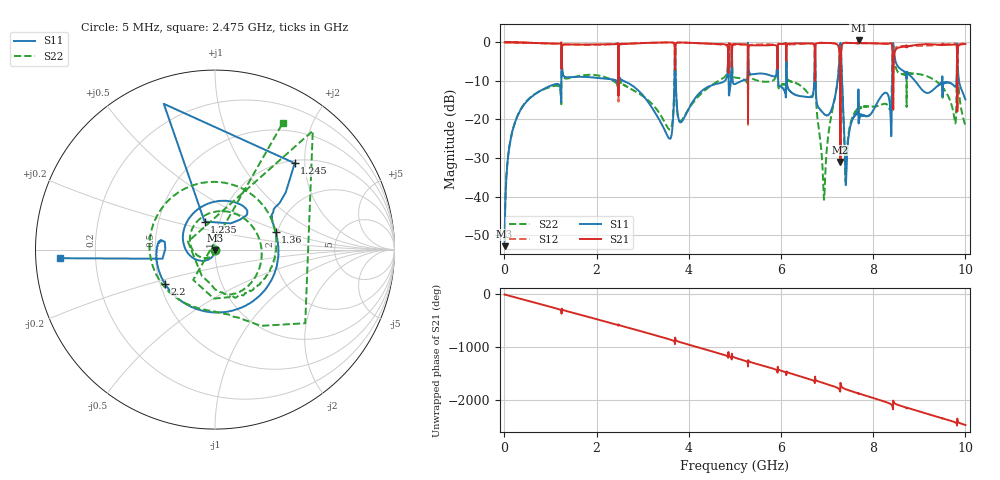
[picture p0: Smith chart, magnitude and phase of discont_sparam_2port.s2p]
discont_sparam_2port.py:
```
import os
from pylab import *

from CSXCAD  import ContinuousStructure
from openEMS import openEMS
from openEMS.physical_constants import *

# preview model/mesh only?
# postprocess existing data without re-running simulation?
preview_only = False
postprocess_only = False

# Simulate reverse path (S22 and S12) also?
full_2port = True

# get *.py model path and put simulation files in data directory below
model_path = os.path.normcase(os.path.dirname(__file__))
model_basename = os.path.basename(__file__).replace('.py','')
common_data_path = os.path.join(model_path, 'data')
sim_path = os.path.join(common_data_path,  model_basename)

print('Model path:', model_path)
print('Model basename:', model_basename)
print('Simulation data path:', sim_path, '\n')

# create data directory if it does not exist
if not os.path.exists(sim_path):
    os.makedirs(sim_path)

# change to data directory
os.chdir(sim_path)

############ simulation settings ############

unit = 1e-3 # specify everything in mm
Z0=50 # reference impedance for ports

fstart = 0
fstop  = 10e9
numfreq = 2001  # number of frequency points (has no effect on simulation time!)

energy_limit = -40    # end criteria for residual energy
Boundaries   = ['PEC', 'PEC', 'PEC', 'PEC', 'PEC', 'PEC']  # xmin xmax ymin ymax zmin zmax

eps_max = 4.4 # maximum permittivity in model, used for calculating max cellsize

lim = exp(energy_limit/10 * log(10))
FDTD = openEMS(EndCriteria=lim)
FDTD.SetGaussExcite( (fstart+fstop)/2, (fstop-fstart)/2 )
FDTD.SetBoundaryCond( Boundaries )

wavelength_air = (3e8/unit)/fstop
max_cellsize = wavelength_air/(sqrt(eps_max)*20) # max cellsize is lambda/20 in medium
max_cellsize = min(max_cellsize, 2) # using lambda/20 would be too large here, creating abrupt steps in cell size -> use smaller value for nicely graded mesh

def createSimulation (exciteport):
# Define function for model creation because we need to create and run separate CSX
# for each excitation. For S11,S21 we only need to excite port 1, but for S22,S12
# we need to excite port 2. This requires separate CSX with different port settings.


    ############ Geometry setup ############
    CSX = ContinuousStructure()
    FDTD.SetCSX(CSX)
    mesh = CSX.GetGrid()
    mesh.SetDeltaUnit(unit)

    # air above and below
    air_thick = 5

    # substrate
    Sub = CSX.AddMaterial('Sub', epsilon=4.4)
    Sub_thick = 1.5
    Sub_zmin = 0
    Sub_zmax = Sub_zmin + Sub_thick

    # TopMetal
    TopMetal_thick = 0.1
    TopMetal_zmin  = Sub_zmax
    TopMetal_zmax  = Sub_zmax + TopMetal_thick
    TopMetal = CSX.AddMetal('TopMetal')

    # BottomMetal
    BottomMetal_thick = 0.1
    BottomMetal_zmax  = Sub_zmin
    BottomMetal_zmin  = Sub_zmin - BottomMetal_thick
    BottomMetal = CSX.AddMetal('BottomMetal')


    ############# begin layout geometries ###########

    # TopMetal line over BottomMetal ground
    # unit millimeter
    wline = 2.7
    lline = 100
    wgnd  = 20
    lgnd  = lline + 10

    wdiscont = 5
    ldiscont = 20
    xdiscont = 30   # discontuity position

    # signal line
    TopMetal.AddBox(priority=200, start=[-lline/2, -wline/2, TopMetal_zmin], stop=[lline/2, wline/2, TopMetal_zmax])
    # ground plane
    BottomMetal.AddBox(priority=200, start=[-lgnd/2, -wgnd/2, BottomMetal_zmin], stop=[lgnd/2, wgnd/2, BottomMetal_zmax])
    # substrate
    Sub.AddBox(priority=200, start=[-lgnd/2, -wgnd/2, Sub_zmin], stop=[lgnd/2, wgnd/2, Sub_zmax])

    # discontinuity in signal line
    TopMetal.AddBox(priority=200, start=[xdiscont-lline/2, -wdiscont/2, TopMetal_zmin], stop=[xdiscont-lline/2+ldiscont, wdiscont/2, TopMetal_zmax])


    ############# end layout geometries ##########

    ############ ports created manually ##########

    port_zmin = BottomMetal_zmax
    port_zmax = TopMetal_zmin

    if exciteport==1:
        port1 = FDTD.AddLumpedPort(1, Z0, [-lline/2, -wline/2, port_zmin], [-lline/2, wline/2, port_zmax], 'z', excite=1.0, priority=150)
        port2 = FDTD.AddLumpedPort(2, Z0, [ lline/2, -wline/2, port_zmin], [ lline/2, wline/2, port_zmax], 'z', excite=0,   priority=150)
    else:
        port1 = FDTD.AddLumpedPort(1, Z0, [-lline/2, -wline/2, port_zmin], [-lline/2, wline/2, port_zmax], 'z', excite=0,   priority=150)
        port2 = FDTD.AddLumpedPort(2, Z0, [ lline/2, -wline/2, port_zmin], [ lline/2, wline/2, port_zmax], 'z', excite=1.0, priority=150)


    #################  end ports  ################

    # Simulation box with some margin to line
    box_xmin = -(lgnd/2 + 5)
    box_xmax =  (lgnd/2 + 5)
    box_ymin = -(wgnd/2 + 5)
    box_ymax =  (wgnd/2 + 5)

    ############# create  mesh  #############

    # Detect metal edges and place mesh lines
    FDTD.AddEdges2Grid(dirs='all', properties=TopMetal)
    FDTD.AddEdges2Grid(dirs='all', properties=BottomMetal)

    # manual mesh line in substrate
    mesh.AddLine('z',linspace(Sub_zmin, Sub_zmax, 5))

    # fine mesh near port 1
    mesh.AddLine('x', linspace(-lline/2-wline/2, -lline/2+wline/2, 5))

    #finer mesh near port 2
    mesh.AddLine('x', linspace(+lline/2-wline/2, +lline/2+wline/2, 5))

    # fine mesh across line width
    mesh.AddLine('y', linspace(-wline/2, wline/2,7))


    # mesh lines at simulation boundaries

    mesh.AddLine('x', box_xmin)
    mesh.AddLine('x', box_xmax)

    mesh.AddLine('y', box_ymin)
    mesh.AddLine('y', box_ymax)

    mesh.AddLine('z', TopMetal_zmax + air_thick)
    mesh.AddLine('z', BottomMetal_zmin - air_thick)


    mesh.SmoothMeshLines('x', max_cellsize, 1.3)
    mesh.SmoothMeshLines('y', max_cellsize, 1.3)
    mesh.SmoothMeshLines('z', max_cellsize, 1.3)


    #################### write model file and view in AppCSXCAD ################


    # create subdirectory to hold data for this excitation
    excitation_path = os.path.join(sim_path, 'sub-' + str(exciteport))
    if not os.path.exists(excitation_path):
        os.makedirs(excitation_path)

    # write CSX file
    CSX_file = os.path.join(excitation_path, model_basename + '.xml')
    CSX.Write2XML(CSX_file)

    if not postprocess_only: # preview model, but only for first port excitation
        if (exciteport==1):
            from CSXCAD import AppCSXCAD_BIN
            os.system(AppCSXCAD_BIN + ' "{}"'.format(CSX_file))

    if not preview_only:  # start simulation
        if not postprocess_only:
            print("Running FDTD simulation, excitation port " + str(exciteport))
            FDTD.Run(excitation_path, verbose=1)

    # return ports, so that we can postprocess them
    return port1, port2, excitation_path

######### end of function createSimulation (exciteport) ##########



########### create model, run and post-process ###########

f = np.linspace(fstart,fstop,numfreq)

# call createSimulation function defined above
sub1_port1, sub1_port2, sub1_excitation_path = createSimulation (1)  # excite port 1
if full_2port:
    sub2_port1, sub2_port2, sub2_excitation_path = createSimulation (2)  # excite port 2

if not preview_only:
    # evaluate port 1 excitation
    sub1_port1.CalcPort( sub1_excitation_path, f, ref_impedance = Z0)
    sub1_port2.CalcPort( sub1_excitation_path, f, ref_impedance = Z0)

    s11 = sub1_port1.uf_ref / sub1_port1.uf_inc
    s21 = sub1_port2.uf_ref / sub1_port1.uf_inc

    if full_2port:
        # evaluate port 2 excitation
        sub2_port1.CalcPort( sub2_excitation_path, f, ref_impedance = Z0)
        sub2_port2.CalcPort( sub2_excitation_path, f, ref_impedance = Z0)

        s22 = sub2_port2.uf_ref / sub2_port2.uf_inc
        s12 = sub2_port1.uf_ref / sub2_port2.uf_inc

    Zin_port1 = sub1_port1.uf_tot / sub1_port1.if_tot

    ### Plot results

    s11_dB = 20.0*np.log10(np.abs(s11))
    s11_phase = angle(s11, deg=True)

    s21_dB = 20.0*np.log10(np.abs(s21))
    s21_phase = angle(s21, deg=True)

    if full_2port:
        s22_dB = 20.0*np.log10(np.abs(s22))
        s22_phase = angle(s22, deg=True)

        s12_dB = 20.0*np.log10(np.abs(s12))
        s12_phase = angle(s12, deg=True)


    ## Plot reflection coefficient S11
    figure()
    plot( f/1e6, s11_dB, 'k-', linewidth=2, label='dB(S11)' )
    plot( f/1e6, s21_dB, 'r-', linewidth=2, label='dB(S21)' )
    grid()
    title( 'S11 and S21' )
    xlabel( 'frequency (MHz)' )
    ylabel( 'dB' )
    legend()

    if full_2port:
        # create Touchstone S2P output file in simulation data path
        s2p_name = os.path.join(sim_path, model_basename + '.s2p')
        s2p_file = open(s2p_name, 'w')
        s2p_file.write('#   Hz   S  RI   R   50\n')
        s2p_file.write('!\n')
        for index in range(0, numfreq):
            freq = f[index]
            s11re = real(s11[index])
            s11im = imag(s11[index])
            s12re = real(s12[index])
            s12im = imag(s12[index])
            s21re = real(s21[index])
            s21im = imag(s21[index])
            s22re = real(s22[index])
            s22im = imag(s22[index])
            s2p_file.write(f"{freq} {s11re} {s11im} {s21re} {s21im} {s12re} {s12im} {s22re} {s22im} \n")
        s2p_file.close()


    # show plots
    show()
```
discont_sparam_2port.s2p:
#  Hz  S  RI  R  50
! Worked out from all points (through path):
!   2000 points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, 5 MHz to 10 GHz, reference 50 ohm
!   highest |S21| = 0.46 dB at 7.685 GHz (marker M1); lowest = -31.0 dB at 7.29 GHz (marker M2)
!   lowest |S11| = -52.8 dB at 5 MHz (marker M3), VSWR 1.00, Z = 50 - j0.229 ohm
!   |S11| at or under -10 dB: start of sweep to 1.237 GHz; 2.577 GHz to 3.689 GHz (1.112 GHz wide, 35.5 % of centre); 7.325 GHz to 8.411 GHz (1.087 GHz wide, 13.8 % of centre)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
!   |S22| runs from -51.4 to -0.2 dB; largest |S21 - S12| = 0.066
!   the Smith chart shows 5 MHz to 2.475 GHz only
!   S11 on the Smith chart (normalised r, x): 5 MHz: 1.00, -0.00; 1.235 GHz: 0.85, +0.27; 1.245 GHz: 1.06, +1.78; 1.36 GHz: 1.96, +0.43; 2.2 GHz: 0.53, -0.23; 2.475 GHz: 0.07, -0.03
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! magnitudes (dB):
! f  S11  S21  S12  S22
! 5 MHz  -52.8  0.0  0.0  -51.4
! 1.235 GHz  -15.6  -0.2  -0.1  -16.1
! 1.245 GHz  -3.7  -2.6  -2.6  -3.8
! 1.36 GHz  -9.1  -0.6  -0.5  -9.4
! 2.2 GHz  -9.4  -0.6  -0.6  -9.1
! 2.475 GHz  -1.2  -13.9  -15.4  -1.9
! 5.005 GHz  -10.8  -0.5  -0.6  -9.2
! 6.935 GHz  -18.6  -0.2  -0.1  -40.8
! 7.29 GHz  -0.2  -31.0  -30.9  -0.2
! 7.685 GHz  -21.0  0.5  0.2  -19.2
! 10 GHz  -14.8  -0.5  -0.3  -21.5
